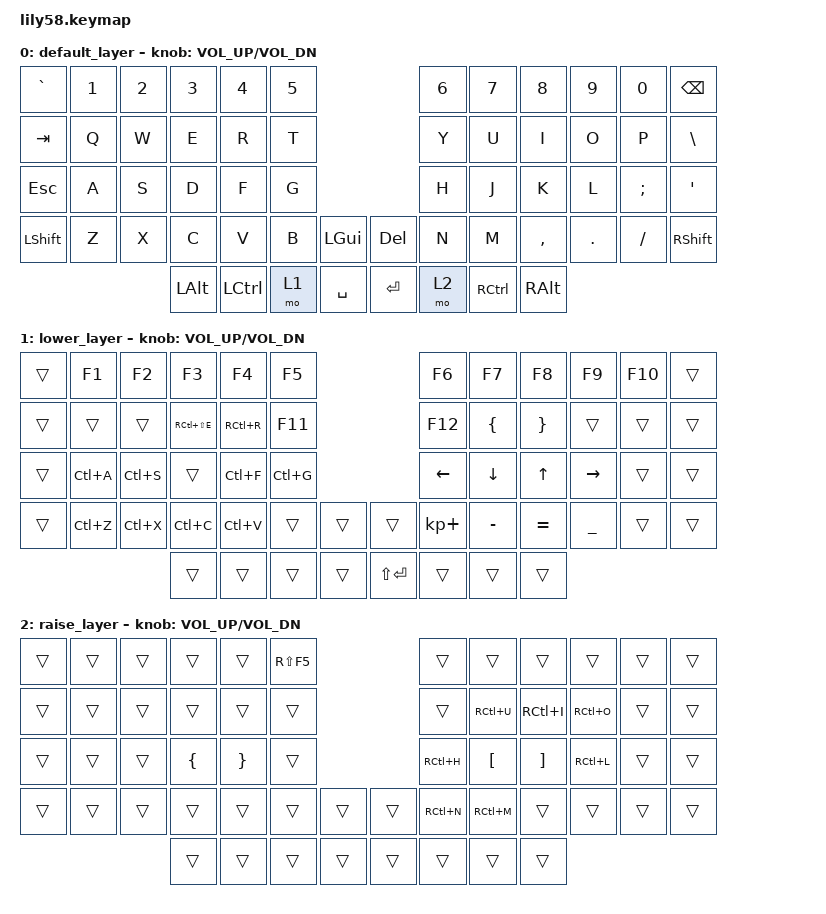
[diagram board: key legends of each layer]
/*
 * Copyright (c) 2020 The ZMK Contributors
 *
 * SPDX-License-Identifier: MIT
 */

#include <behaviors.dtsi>
#include <dt-bindings/zmk/keys.h>
#include <dt-bindings/zmk/bt.h>
#include <dt-bindings/zmk/ext_power.h>

/ {
	keymap {
		compatible = "zmk,keymap";

		default_layer {
// ------------------------------------------------------------------------------------------------------------
// | `    |  1  |  2  |  3      |  4      |  5   |                  |  6   |  7      |  8      |  9    |   0    | BSPC   |
// | TAB  |  Q  |  W  |  E      |  R      |  T   |                  |  Y   |  U      |  I      |  O    |   P    |   \    |
// | ESC  |  A  |  S  |  D      |  F      |  G   |                  |  H   |  J      |  K      |  L    |   ;    |   '    |
// |SHIFT |  Z  |  X  |  C      |  V      |  B   | GUI   |  | DEL   |  N   |  M      |  ,      |  .    |   /    | SHIFT  |
//                    | ALT     | CTRL    | LOWER| SPACE |  | ENTER | RAISE| CTRL    |  ALT    |
			bindings = <
&kp GRAVE &kp N1 &kp N2 &kp N3   &kp N4    &kp N5                     &kp N6 &kp N7    &kp N8    &kp N9  &kp N0   &kp BSPC  
&kp TAB   &kp Q  &kp W  &kp E    &kp R     &kp T                      &kp Y  &kp U     &kp I     &kp O   &kp P    &kp BSLH 
&kp ESC   &kp A  &kp S  &kp D    &kp F     &kp G                      &kp H  &kp J     &kp K     &kp L   &kp SEMI &kp SQT  
&kp LSHFT &kp Z  &kp X  &kp C    &kp V     &kp B  &kp LGUI   &kp DEL  &kp N  &kp M     &kp COMMA &kp DOT &kp FSLH &kp RSHFT
                        &kp LALT &kp LCTRL &mo 1  &kp SPACE  &kp RET  &mo 2  &kp RCTRL &kp RALT 
			>;

			sensor-bindings = <&inc_dec_kp C_VOL_UP C_VOL_DN>;
		};

		lower_layer {
// ------------------------------------------------------------------------------------------------------------
// |   |F1       |  F2     |  F3        |  F4     |  F5     |                      |  F6        | F7      | F8      | F9           | F10   |     |
// |   |         |         |CRL+SHIFT+E | CRL+R   |  F11    |                      | F12        |   {     |  }      |              |       |     |
// |   |CRL+A    |CRL+S    |            | CRL+F   | CRL+G   |                      |  <-        |   v     |  ^      |  ->          |       |     |
// |   |CRL+Z    |CRL+X    |  CRL+C     | CRL+v   |         |      |  |  trans     |  +         |   -     |  =      |  _           |       |     |
//                         |            |         |         |      |  |SHIFT+ENTER |            |         |         |
			bindings = <
&trans &kp F1    &kp F2    &kp F3        &kp F4    &kp F5                           &kp F6      &kp F7     &kp F8    &kp F9         &kp F10 &trans 
&trans &trans    &trans    &kp RC(LS(E)) &kp RC(R) &kp F11                          &kp F12     &kp LBRC   &kp RBRC  &trans         &trans  &trans
&trans &kp LC(A) &kp LC(S) &trans        &kp LC(F) &kp LC(G)                        &kp LEFT    &kp DOWN   &kp UP    &kp RIGHT      &trans  &trans
&trans &kp LC(Z) &kp LC(X) &kp LC(C)     &kp LC(V) &trans    &trans    &trans       &kp KP_PLUS &kp MINUS  &kp EQUAL &kp UNDERSCORE &trans  &trans
                           &trans        &trans    &trans    &trans    &kp LS(RET)  &trans      &trans     &trans
			>;

			sensor-bindings = <&inc_dec_kp C_VOL_UP C_VOL_DN>;
		};

		raise_layer {
// ------------------------------------------------------------------------------------------------------------
// |   |      |       |      |      | SHIFT + F5  |                |         |          |        |         |     |      |
// |   |      |       |      |      |             |                |         |CRL+U     | CRL+I  |CRL+O    |     |      |
// |   |      |       |  {   |  }   |             |                | CRL+H   |   [      |    ]   |CRL+L    |     |      |
// |   |      |       |      |      |             |     |  |       | CRL+N   |CRL+M     |        |         |     |      |
//                    |      |      |             |     |  |       |         |          |        |
			bindings = <
&trans  &trans &trans  &trans   &trans   &kp RS(F5)                  &trans    &trans    &trans    &trans    &trans  &trans
&trans  &trans &trans  &trans   &trans   &trans                  &trans    &kp RC(U) &kp RC(I) &kp RC(O) &trans  &trans
&trans  &trans &trans  &kp LBRC &kp RBRC &trans                  &kp RC(H) &kp LBKT  &kp RBKT  &kp RC(L) &trans  &trans
&trans  &trans &trans  &trans   &trans   &trans &trans   &trans  &kp RC(N) &kp RC(M) &trans    &trans    &trans  &trans
                       &trans   &trans   &trans &trans   &trans  &trans    &trans    &trans
			>;

			sensor-bindings = <&inc_dec_kp C_VOL_UP C_VOL_DN>;
		};
	};
};
